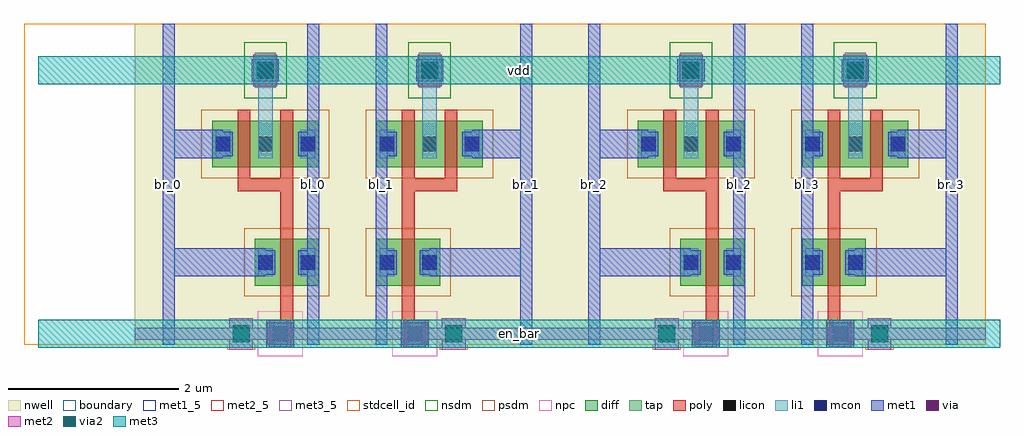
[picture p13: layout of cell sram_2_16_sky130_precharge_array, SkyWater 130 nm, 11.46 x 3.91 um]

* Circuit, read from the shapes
.subckt sram_2_16_sky130_precharge_array bl_0 bl_1 bl_2 bl_3 br_0 br_1 br_2 br_3 en_bar vdd
XM1 vdd en_bar br_0 vdd sky130_fd_pr__pfet_01v8 w=0.55 l=0.15
XM2 bl_0 en_bar br_0 vdd sky130_fd_pr__pfet_01v8 w=0.55 l=0.15
XM3 bl_0 en_bar vdd vdd sky130_fd_pr__pfet_01v8 w=0.55 l=0.15
XM4 br_1 en_bar bl_1 vdd sky130_fd_pr__pfet_01v8 w=0.55 l=0.15
XM5 vdd en_bar bl_1 vdd sky130_fd_pr__pfet_01v8 w=0.55 l=0.15
XM6 br_1 en_bar vdd vdd sky130_fd_pr__pfet_01v8 w=0.55 l=0.15
XM7 vdd en_bar br_2 vdd sky130_fd_pr__pfet_01v8 w=0.55 l=0.15
XM8 bl_2 en_bar br_2 vdd sky130_fd_pr__pfet_01v8 w=0.55 l=0.15
XM9 bl_2 en_bar vdd vdd sky130_fd_pr__pfet_01v8 w=0.55 l=0.15
XM10 br_3 en_bar bl_3 vdd sky130_fd_pr__pfet_01v8 w=0.55 l=0.15
XM11 vdd en_bar bl_3 vdd sky130_fd_pr__pfet_01v8 w=0.55 l=0.15
XM12 br_3 en_bar vdd vdd sky130_fd_pr__pfet_01v8 w=0.55 l=0.15
.ends

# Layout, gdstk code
from math import pi, radians
import gdstk
lib = gdstk.Library(unit=1e-6, precision=1e-09)
def R(c, l, rs):  # rectangles x0, y0, x1, y1
    for r in rs: c.add(gdstk.rectangle(r[:2], r[2:], *l))
nwell = (64, 20)
diff = (65, 20)
tap = (65, 44)
poly = (66, 20)
licon = (66, 44)
li1 = (67, 20)
mcon = (67, 44)
met1_5 = (68, 5)
met1 = (68, 20)
via = (68, 44)
met2_5 = (69, 5)
met2 = (69, 20)
via2 = (69, 44)
met3_5 = (70, 5)
met3 = (70, 20)
stdcell_id = (81, 4)
nsdm = (93, 44)
psdm = (94, 20)
npc = (95, 20)
boundary = (235, 4)

sram_2_16_sky130_contact = lib.new_cell('sram_2_16_sky130_contact_11')
R(sram_2_16_sky130_contact, nwell, [(-0.295,-0.255,0.545,0.585)])
R(sram_2_16_sky130_contact, diff, [(0,0.02,0.25,0.31)])
R(sram_2_16_sky130_contact, licon, [(0.04,0.08,0.21,0.25)])
R(sram_2_16_sky130_contact, li1, [(0.04,0,0.21,0.33)])
R(sram_2_16_sky130_contact, stdcell_id, [(-0.295,-0.255,0.545,0.585)])
R(sram_2_16_sky130_contact, psdm, [(-0.125,-0.105,0.375,0.435)])
R(sram_2_16_sky130_contact, boundary, [(-0.295,-0.255,0.545,0.585)])

sram_2_16_sky130_pmos_m1 = lib.new_cell('sram_2_16_sky130_pmos_m1_w0_550_sli_dli')
R(sram_2_16_sky130_pmos_m1, nwell, [(-0.27,-0.27,1.02,0.82)])
R(sram_2_16_sky130_pmos_m1, diff, [(0,0,0.75,0.55)])
R(sram_2_16_sky130_pmos_m1, poly, [(0.3,-0.13,0.45,0.68), (0.3,-0.13,0.45,0.68)])
R(sram_2_16_sky130_pmos_m1, li1, [(0.04,0.11,0.21,0.44), (0.54,0.11,0.71,0.44)])
R(sram_2_16_sky130_pmos_m1, stdcell_id, [(-0.27,-0.27,1.02,0.82)])
R(sram_2_16_sky130_pmos_m1, psdm, [(-0.125,-0.125,0.875,0.675)])
R(sram_2_16_sky130_pmos_m1, boundary, [(-0.27,-0.27,1.02,0.82)])
sram_2_16_sky130_pmos_m1.add(gdstk.Reference(sram_2_16_sky130_contact, (0,0.11)))
sram_2_16_sky130_pmos_m1.add(gdstk.Reference(sram_2_16_sky130_contact, (0.5,0.11)))
sram_2_16_sky130_pmos_m1.add(gdstk.Label('G', (0.375,0.275), layer=66, texttype=5))
sram_2_16_sky130_pmos_m1.add(gdstk.Label('S', (0.125,0.275), layer=67, texttype=5))
sram_2_16_sky130_pmos_m1.add(gdstk.Label('D', (0.625,0.275), layer=67, texttype=5))

c_sram_2_16_sky130_contact = lib.new_cell('sram_2_16_sky130_contact_15')
R(c_sram_2_16_sky130_contact, poly, [(0,0,0.33,0.33)])
R(c_sram_2_16_sky130_contact, licon, [(0.08,0.08,0.25,0.25)])
R(c_sram_2_16_sky130_contact, li1, [(0.08,0,0.25,0.33)])
R(c_sram_2_16_sky130_contact, stdcell_id, [(-0.1,-0.1,0.43,0.43)])
R(c_sram_2_16_sky130_contact, npc, [(-0.1,-0.1,0.43,0.43)])
R(c_sram_2_16_sky130_contact, boundary, [(-0.1,-0.1,0.43,0.43)])

c_sram_2_16_sky130_contact_ = lib.new_cell('sram_2_16_sky130_contact_13')
R(c_sram_2_16_sky130_contact_, li1, [(0.06,0,0.23,0.33)])
R(c_sram_2_16_sky130_contact_, mcon, [(0.06,0.08,0.23,0.25)])
R(c_sram_2_16_sky130_contact_, met1, [(0,0.05,0.29,0.28)])
R(c_sram_2_16_sky130_contact_, stdcell_id, [(0,0,0.29,0.33)])
R(c_sram_2_16_sky130_contact_, boundary, [(0,0,0.29,0.33)])

c_sram_2_16_sky130_contact__ = lib.new_cell('sram_2_16_sky130_contact_7')
R(c_sram_2_16_sky130_contact__, met1, [(0,0.03,0.32,0.29)])
R(c_sram_2_16_sky130_contact__, via, [(0.085,0.085,0.235,0.235)])
R(c_sram_2_16_sky130_contact__, met2, [(0.03,0,0.29,0.32)])
R(c_sram_2_16_sky130_contact__, stdcell_id, [(0,0,0.32,0.32)])
R(c_sram_2_16_sky130_contact__, boundary, [(0,0,0.32,0.32)])

c_sram_2_16_sky130_contact___ = lib.new_cell('sram_2_16_sky130_contact_12')
R(c_sram_2_16_sky130_contact___, nwell, [(-0.295,-0.215,0.545,0.625)])
R(c_sram_2_16_sky130_contact___, tap, [(0,0,0.25,0.41)])
R(c_sram_2_16_sky130_contact___, licon, [(0.04,0.12,0.21,0.29)])
R(c_sram_2_16_sky130_contact___, li1, [(0.04,0.04,0.21,0.37)])
R(c_sram_2_16_sky130_contact___, stdcell_id, [(-0.295,-0.215,0.545,0.625)])
R(c_sram_2_16_sky130_contact___, nsdm, [(-0.125,-0.125,0.375,0.535)])
R(c_sram_2_16_sky130_contact___, boundary, [(-0.295,-0.215,0.545,0.625)])

c_sram_2_16_sky130_contact____ = lib.new_cell('sram_2_16_sky130_contact_21')
R(c_sram_2_16_sky130_contact____, li1, [(0.03,0,0.2,0.33)])
R(c_sram_2_16_sky130_contact____, mcon, [(0.03,0.08,0.2,0.25)])
R(c_sram_2_16_sky130_contact____, met1, [(0,0.02,0.23,0.31)])
R(c_sram_2_16_sky130_contact____, stdcell_id, [(0,0,0.23,0.33)])
R(c_sram_2_16_sky130_contact____, boundary, [(0,0,0.23,0.33)])

sram_2_16_sky130_prechar = lib.new_cell('sram_2_16_sky130_precharge_0')
R(sram_2_16_sky130_prechar, nwell, [(0,0,2.5,3.77)])
R(sram_2_16_sky130_prechar, poly, [(0.64,0.05,0.79,0.2), (0.715,0.05,0.79,0.2), (0.64,0.125,0.79,0.56), (0.64,1.37,0.79,1.95), (0.64,1.8,1.29,1.95)])
R(sram_2_16_sky130_prechar, li1, [(0.88,2.355,1.05,3.22), (0.88,3.135,1.05,3.305)])
R(sram_2_16_sky130_prechar, met1_5, [(0.33,0,0.47,3.77), (2.03,0,2.17,3.77)])
R(sram_2_16_sky130_prechar, met1, [(0.63,-0.005,0.95,0.255), (0.33,0,0.47,3.77), (0.33,0,0.47,3.77), (2.03,0,2.17,3.77), (2.03,0,2.17,3.77), (0.4,0.8,0.465,1.13), (0.965,0.8,2.1,1.13), (0.4,2.19,0.465,2.52), (1.465,2.19,2.1,2.52)])
R(sram_2_16_sky130_prechar, met2_5, [(0,0.055,2.5,0.195)])
R(sram_2_16_sky130_prechar, met2, [(0,0.055,2.5,0.195)])
R(sram_2_16_sky130_prechar, stdcell_id, [(0,0,2.5,3.77)])
R(sram_2_16_sky130_prechar, boundary, [(0,0,2.5,3.77)])
sram_2_16_sky130_prechar.add(gdstk.Reference(sram_2_16_sky130_pmos_m1, (0.34,0.69)))
sram_2_16_sky130_prechar.add(gdstk.Reference(sram_2_16_sky130_pmos_m1, (0.34,2.08)))
sram_2_16_sky130_prechar.add(gdstk.Reference(sram_2_16_sky130_pmos_m1, (0.84,2.08)))
sram_2_16_sky130_prechar.add(gdstk.Reference(c_sram_2_16_sky130_contact, (0.625,-0.04)))
sram_2_16_sky130_prechar.add(gdstk.Reference(c_sram_2_16_sky130_contact_, (0.645,-0.04)))
sram_2_16_sky130_prechar.add(gdstk.Reference(c_sram_2_16_sky130_contact__, (0.63,-0.035)))
sram_2_16_sky130_prechar.add(gdstk.Reference(c_sram_2_16_sky130_contact___, (0.84,3.015)))
sram_2_16_sky130_prechar.add(gdstk.Reference(c_sram_2_16_sky130_contact_, (0.82,3.055)))
sram_2_16_sky130_prechar.add(gdstk.Reference(c_sram_2_16_sky130_contact____, (0.35,0.8)))
sram_2_16_sky130_prechar.add(gdstk.Reference(c_sram_2_16_sky130_contact____, (0.85,0.8)))
sram_2_16_sky130_prechar.add(gdstk.Reference(c_sram_2_16_sky130_contact____, (0.35,2.19)))
sram_2_16_sky130_prechar.add(gdstk.Reference(c_sram_2_16_sky130_contact____, (1.35,2.19)))
sram_2_16_sky130_prechar.add(gdstk.Label('en_bar', (1.25,0.125), layer=69, texttype=5))
sram_2_16_sky130_prechar.add(gdstk.Label('vdd', (0.965,3.22), layer=67, texttype=5))
sram_2_16_sky130_prechar.add(gdstk.Label('bl', (0.4,1.885), layer=68, texttype=5))
sram_2_16_sky130_prechar.add(gdstk.Label('br', (2.1,1.885), layer=68, texttype=5))

c_sram_2_16_sky130_contact_____ = lib.new_cell('sram_2_16_sky130_contact_8')
R(c_sram_2_16_sky130_contact_____, met2, [(0.025,0,0.305,0.37)])
R(c_sram_2_16_sky130_contact_____, via2, [(0.065,0.085,0.265,0.285)])
R(c_sram_2_16_sky130_contact_____, met3, [(0,0.02,0.33,0.35)])
R(c_sram_2_16_sky130_contact_____, stdcell_id, [(0,0,0.33,0.37)])
R(c_sram_2_16_sky130_contact_____, boundary, [(0,0,0.33,0.37)])

c_sram_2_16_sky130_prechar = lib.new_cell('sram_2_16_sky130_precharge_array')
R(c_sram_2_16_sky130_prechar, met1_5, [(1.63,0,1.77,3.77), (3.33,0,3.47,3.77), (4.13,0,4.27,3.77), (5.83,0,5.97,3.77), (6.63,0,6.77,3.77), (8.33,0,8.47,3.77), (9.13,0,9.27,3.77), (10.83,0,10.97,3.77)])
R(c_sram_2_16_sky130_prechar, met1, [(1.63,0,1.77,3.77), (3.33,0,3.47,3.77), (4.13,0,4.27,3.77), (5.83,0,5.97,3.77), (6.63,0,6.77,3.77), (8.33,0,8.47,3.77), (9.13,0,9.27,3.77), (10.83,0,10.97,3.77), (2.675,3.09,2.995,3.35), (4.605,3.09,4.925,3.35), (7.675,3.09,7.995,3.35), (9.605,3.09,9.925,3.35)])
R(c_sram_2_16_sky130_prechar, met2, [(2.41,0.005,2.69,0.245), (2.41,0.005,2.69,0.245), (4.91,0.005,5.19,0.245), (4.91,0.005,5.19,0.245), (7.41,0.005,7.69,0.245), (7.41,0.005,7.69,0.245), (9.91,0.005,10.19,0.245), (9.91,0.005,10.19,0.245), (2.695,3.1,2.975,3.34), (4.625,3.1,4.905,3.34), (7.695,3.1,7.975,3.34), (9.625,3.1,9.905,3.34)])
R(c_sram_2_16_sky130_prechar, met3_5, [(0.165,-0.04,11.465,0.29), (0.165,3.055,11.465,3.385)])
R(c_sram_2_16_sky130_prechar, met3, [(0.165,-0.04,11.465,0.29), (0.165,3.055,11.465,3.385)])
R(c_sram_2_16_sky130_prechar, stdcell_id, [(0,0,11.3,3.77)])
R(c_sram_2_16_sky130_prechar, boundary, [(0,0,11.3,3.77)])
c_sram_2_16_sky130_prechar.add(gdstk.Reference(sram_2_16_sky130_prechar, (3.8,0), rotation=pi, x_reflection=True))
c_sram_2_16_sky130_prechar.add(gdstk.Reference(sram_2_16_sky130_prechar, (3.8,0)))
c_sram_2_16_sky130_prechar.add(gdstk.Reference(sram_2_16_sky130_prechar, (8.8,0), rotation=pi, x_reflection=True))
c_sram_2_16_sky130_prechar.add(gdstk.Reference(sram_2_16_sky130_prechar, (8.8,0)))
c_sram_2_16_sky130_prechar.add(gdstk.Reference(c_sram_2_16_sky130_contact_____, (2.385,-0.06)))
c_sram_2_16_sky130_prechar.add(gdstk.Reference(c_sram_2_16_sky130_contact_____, (4.885,-0.06)))
c_sram_2_16_sky130_prechar.add(gdstk.Reference(c_sram_2_16_sky130_contact_____, (7.385,-0.06)))
c_sram_2_16_sky130_prechar.add(gdstk.Reference(c_sram_2_16_sky130_contact_____, (9.885,-0.06)))
c_sram_2_16_sky130_prechar.add(gdstk.Reference(c_sram_2_16_sky130_contact_____, (2.385,-0.06)))
c_sram_2_16_sky130_prechar.add(gdstk.Reference(c_sram_2_16_sky130_contact_____, (4.885,-0.06)))
c_sram_2_16_sky130_prechar.add(gdstk.Reference(c_sram_2_16_sky130_contact_____, (7.385,-0.06)))
c_sram_2_16_sky130_prechar.add(gdstk.Reference(c_sram_2_16_sky130_contact_____, (9.885,-0.06)))
c_sram_2_16_sky130_prechar.add(gdstk.Reference(c_sram_2_16_sky130_contact_, (2.69,3.055)))
c_sram_2_16_sky130_prechar.add(gdstk.Reference(c_sram_2_16_sky130_contact__, (2.675,3.06)))
c_sram_2_16_sky130_prechar.add(gdstk.Reference(c_sram_2_16_sky130_contact_____, (2.67,3.035)))
c_sram_2_16_sky130_prechar.add(gdstk.Reference(c_sram_2_16_sky130_contact_, (4.62,3.055)))
c_sram_2_16_sky130_prechar.add(gdstk.Reference(c_sram_2_16_sky130_contact__, (4.605,3.06)))
c_sram_2_16_sky130_prechar.add(gdstk.Reference(c_sram_2_16_sky130_contact_____, (4.6,3.035)))
c_sram_2_16_sky130_prechar.add(gdstk.Reference(c_sram_2_16_sky130_contact_, (7.69,3.055)))
c_sram_2_16_sky130_prechar.add(gdstk.Reference(c_sram_2_16_sky130_contact__, (7.675,3.06)))
c_sram_2_16_sky130_prechar.add(gdstk.Reference(c_sram_2_16_sky130_contact_____, (7.67,3.035)))
c_sram_2_16_sky130_prechar.add(gdstk.Reference(c_sram_2_16_sky130_contact_, (9.62,3.055)))
c_sram_2_16_sky130_prechar.add(gdstk.Reference(c_sram_2_16_sky130_contact__, (9.605,3.06)))
c_sram_2_16_sky130_prechar.add(gdstk.Reference(c_sram_2_16_sky130_contact_____, (9.6,3.035)))
c_sram_2_16_sky130_prechar.add(gdstk.Label('en_bar', (5.815,0.125), layer=70, texttype=5))
c_sram_2_16_sky130_prechar.add(gdstk.Label('bl_0', (3.4,1.885), layer=68, texttype=5))
c_sram_2_16_sky130_prechar.add(gdstk.Label('br_0', (1.7,1.885), layer=68, texttype=5))
c_sram_2_16_sky130_prechar.add(gdstk.Label('bl_1', (4.2,1.885), layer=68, texttype=5))
c_sram_2_16_sky130_prechar.add(gdstk.Label('br_1', (5.9,1.885), layer=68, texttype=5))
c_sram_2_16_sky130_prechar.add(gdstk.Label('bl_2', (8.4,1.885), layer=68, texttype=5))
c_sram_2_16_sky130_prechar.add(gdstk.Label('br_2', (6.7,1.885), layer=68, texttype=5))
c_sram_2_16_sky130_prechar.add(gdstk.Label('bl_3', (9.2,1.885), layer=68, texttype=5))
c_sram_2_16_sky130_prechar.add(gdstk.Label('br_3', (10.9,1.885), layer=68, texttype=5))
c_sram_2_16_sky130_prechar.add(gdstk.Label('vdd', (5.815,3.22), layer=70, texttype=5))

lib.write_gds('sram_2_16_sky130_precharge_array.gds')
